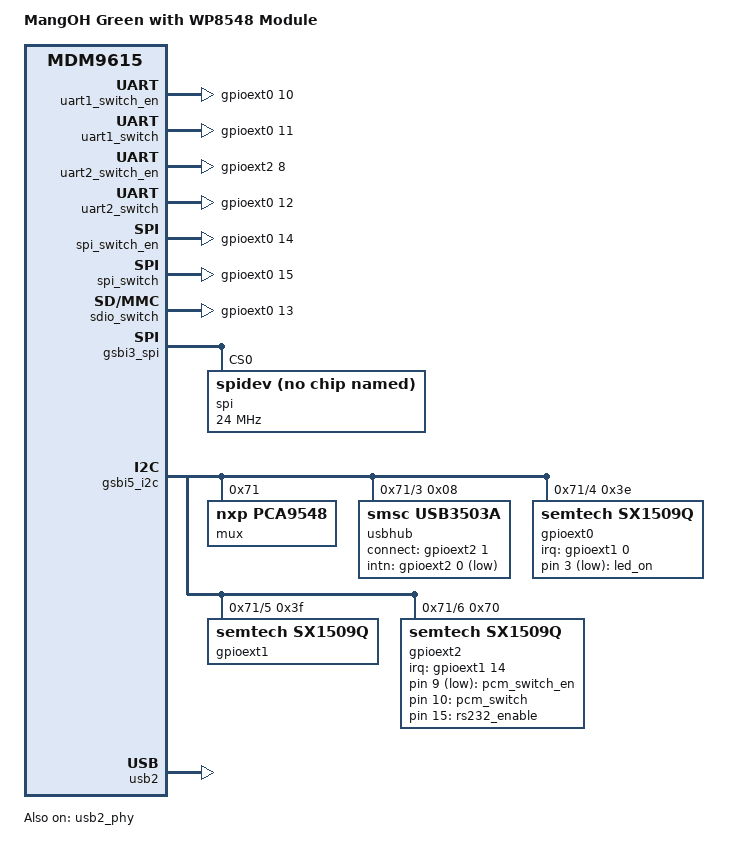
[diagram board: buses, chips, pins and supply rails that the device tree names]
#include <dt-bindings/input/input.h>

#include "swi-wp8548.dtsi"
#include <dt-bindings/interrupt-controller/irq.h>
#include <dt-bindings/gpio/gpio.h>

/ {
	model = "MangOH Green with WP8548 Module";
	compatible = "swi,mangoh-green-wp8548", "swi,wp8548", "qcom,mdm9615";

	iot_switches {
		compatible = "gpio-leds";

		uart1_switch_en: uart1_switch_en {
			compatible = "ti,ts3a5018";
			gpios = <&gpioext0 10 GPIO_ACTIVE_LOW>;
			/* enable switch by default */
			default-state = "on";
		};

		uart1_switch: uart1_switch {
			compatible = "ti,ts3a5018";
			gpios = <&gpioext0 11 GPIO_ACTIVE_HIGH>;
			default-state = "keep";
		};

		uart2_switch_en: uart2_switch_en {
			compatible = "ti,ts3a5018";
			gpios = <&gpioext2 8 GPIO_ACTIVE_LOW>;
			/* enable switch by default */
			default-state = "on";
		};

		uart2_switch: uart2_switch {
			compatible = "ti,ts3a5018";
			gpios = <&gpioext0 12 GPIO_ACTIVE_HIGH>;
			/* select on-board UART by default */
			default-state = "off";
		};

		spi_switch_en: spi_switch_en {
			compatible = "ti,ts3a5018";
			gpios = <&gpioext0 14 GPIO_ACTIVE_LOW>;
			/* enable switch by default */
			default-state = "on";
		};

		spi_switch: spi_switch {
			compatible = "ti,ts3a5018";
			gpios = <&gpioext0 15 GPIO_ACTIVE_HIGH>;
			default-state = "keep";
		};

		pcm_switch_en: pcm_switch_en {
			compatible = "ti,ts3a5018";
			gpios = <&gpioext2 9 GPIO_ACTIVE_LOW>;
			/* enable switch by default */
			default-state = "on";
		};

		pcm_switch: pcm_switch {
			compatible = "ti,ts3a5018";
			gpios = <&gpioext2 10 GPIO_ACTIVE_HIGH>;
			default-state = "keep";
		};

		sdio_switch: sdio_switch {
			compatible = "ti,txs02612";
			gpios = <&gpioext0 13 GPIO_ACTIVE_HIGH>;
			/* select on-board card by default */
			default-state = "on";
		};

		led_on: led_on {
			compatible = "ti,sn74lvc8t245";
			gpios = <&gpioext0 3 GPIO_ACTIVE_LOW>;
			/* enable leds by default */
			default-state = "on";
		};

		rs232_enable: rs232_enable {
			compatible = "generic,gpio-switch";
			gpios = <&gpioext2 15 GPIO_ACTIVE_HIGH>;
			/* enable rs232 port by default */
			default-state = "on";
		};
	};
};

&msmgpio {
	/* MangOH GPIO Mapping :
	   - 2 : GPIOEXP_INT2
	   - 7 : SIM_SELECT_MAIN
	   - 8 : SIM_SELECT_SECONDARY
	   - 13: CN602 pin 16
	   - 21: GPIO_TEST1
	   - 22: GPIO_TEST2
	   - 23: VCC_1V8CTRL
	   - 24: VCC_3V3CTRL
	   - 25: VCC_5V0CTRL
	   - 32: GPIO_TEST3
	   - 33: SD CARD Det
	   - 42: GPIO_TEST4
	*/
	pinctrl-0 = <&cf3_pins>;
	pinctrl-names = "default";

	gpioext1_pins: gpioext1_pins {
		pins {
			pins = "gpio2";
			function = "gpio";
			input-enable;
			bias-disable;
		};
	};

	gpio_test_pins: gpio_test_pins {
		pins {
			pins = "gpio13", "gpio21", "gpio22", "gpio32", "gpio42";
			function = "gpio";
			input-enable;
			bias-disable;
		};
	};

	vcc_ctrl_pins: vcc_ctrl_pins {
		pins {
			pins = "gpio23", "gpio24", "gpio25";
			function = "gpio";
			input-enable;
			bias-disable;
		};
	};

	sim_select_pins: sim_select_pins {
		pins {
			pins = "gpio7", "gpio8";
			function = "gpio";
			input-enable;
			bias-disable;
		};
	};

	cf3_pins: cf3_pins {
		pins {
			pins = "gpio66";
			function = "gpio";
			drive-strength = <2>;
			bias-pull-up;
			output-high;
		};
	};

	sdc_cd_pins: sdc_cd_pins {
		pins {
			pins = "gpio33";
			function = "gpio";
			drive-strength = <2>;
			bias-pull-up;
		};
	};
};

&gsbi3_spi {
	spi@0 {
		compatible = "spidev";
		spi-max-frequency = <24000000>;
		reg = <0>;
	};
};

&gsbi5_i2c {
	mux@71 {
		compatible = "nxp,pca9548";
		#address-cells = <1>;
		#size-cells = <0>;
		reg = <0x71>;

		i2c_iot0: i2c@0 {
			#address-cells = <1>;
			#size-cells = <0>;
			reg = <0>;
		};

		i2c_iot1: i2c@1 {
			#address-cells = <1>;
			#size-cells = <0>;
			reg = <1>;
		};

		i2c_iot2: i2c@2 {
			#address-cells = <1>;
			#size-cells = <0>;
			reg = <2>;
		};

		i2c@3 {
			#address-cells = <1>;
			#size-cells = <0>;
			reg = <3>;

			usbhub: hub@8 {
				compatible = "smsc,usb3503a";
				reg = <0x8>;
				connect-gpios = <&gpioext2 1 GPIO_ACTIVE_HIGH>;
				intn-gpios = <&gpioext2 0 GPIO_ACTIVE_LOW>;
				initial-mode = <1>;
			};
		};

		i2c@4 {
			#address-cells = <1>;
			#size-cells = <0>;
			reg = <4>;

			gpioext0: gpio@3e {
				/* GPIO Expander 0 Mapping :
				   - 0: ARDUINO_RESET_Level shift
				   - 1: BattChrgr_PG_N
				   - 2: BattGauge_GPIO
				   - 3: LED_ON (out active high)
				   - 4: ATmega_reset_GPIO
				   - 5: X
				   - 6: PCM_ANALOG_SELECT (out active high)
				   - 7: X
				   - 8: Board_rev_res1 (in)
				   - 9: Board_rev_res2 (in)
				   - 10: UART_EXP1_ENn (out active low / pull-down)
				   - 11: UART_EXP1_IN (out pull-down)
				   - 12: UART_EXP2_IN (out pull-down)
				   - 13: SDIO_SEL (out pull-down)
				   - 14: SPI_EXP1_ENn (out active low / pull-down)
				   - 15: SPI_EXP1_IN (out pull-down)
				*/
				#gpio-cells = <2>;
				#interrupt-cells = <2>;
				compatible = "semtech,sx1509q";
				reg = <0x3e>;
				interrupt-parent = <&gpioext1>;
				interrupts = <0 IRQ_TYPE_EDGE_FALLING>;

				probe-reset;

				gpio-controller;
				interrupt-controller;
			};
		};

		i2c@5 {
			#address-cells = <1>;
			#size-cells = <0>;
			reg = <5>;

			gpioext1: gpio@3f {
				/* GPIO Expander 1 Mapping :
				   - 0: GPIOEXP_INT1
				   - 1: Battery detect
				   - 2: GPIO_SCF3_RESET
				   - 3: LED_CARD_DETECT_IOT0 (in)
				   - 4: LED_CARD_DETECT_IOT1 (in)
				   - 5: LED_CARD_DETECT_IOT2 (in)
				   - 6: UIM2_PWM_SELECT
				   - 7: UIM2_M2_S_SELECT
				   - 8: TP900
				   - 9: SENSOR_INT1 (in)
				   - 10: SENSOR_INT2 (in)
				   - 11: CARD_DETECT_IOT0 (in pull-up)
				   - 12: CARD_DETECT_IOT2 (in pull-up)
				   - 13: CARD_DETECT_IOT1 (in pull-up)
				   - 14: GPIOEXP_INT3 (in active low / pull-up)
				   - 15: BattChrgr_INT_N
				*/
				pinctrl-0 = <&gpioext1_pins>;
				pinctrl-names = "default";

				#gpio-cells = <2>;
				#interrupt-cells = <2>;
				compatible = "semtech,sx1509q";
				reg = <0x3f>;
				interrupt-parent = <&pmicintc>;
				interrupts = <0 IRQ_TYPE_EDGE_FALLING>;

				probe-reset;

				gpio-controller;
				interrupt-controller;
			};
		};

		i2c@6 {
			#address-cells = <1>;
			#size-cells = <0>;
			reg = <6>;

			gpioext2: gpio@70 {
				/* GPIO Expander 1 Mapping :
				   - 0: USB_HUB_INTn
				   - 1: HUB_CONNECT
				   - 2: GPIO_IOT2_RESET (out active low / pull-up)
				   - 3: GPIO_IOT1_RESET (out active low / pull-up)
				   - 4: GPIO_IOT0_RESET (out active low / pull-up)
				   - 5: TP901
				   - 6: TP902
				   - 7: TP903
				   - 8: UART_EXP2_ENn (out active low / pull-down)
				   - 9: PCM_EXP1_ENn (out active low)
				   - 10: PCM_EXP1_SEL (out)
				   - 11: ARD_FTDI
				   - 12: TP904
				   - 13: TP905
				   - 14: TP906
				   - 15: RS232_Enable (out active high / pull-up)
				*/
				#gpio-cells = <2>;
				#interrupt-cells = <2>;
				compatible = "semtech,sx1509q";
				reg = <0x70>;
				interrupt-parent = <&gpioext1>;
				interrupts = <14 IRQ_TYPE_EDGE_FALLING>;

				pull-down-ports = <9 10>;
				probe-reset;

				gpio-controller;
				interrupt-controller;
			};
		};

		i2c@7 {
			#address-cells = <1>;
			#size-cells = <0>;
			reg = <7>;
		};
	};
};

&usb2_phy {
	status = "ok";
};

&usb2 {
	status = "ok";
};

&sdcc1 {
	pinctrl-0 = <&sdc_cd_pins>;
	pinctrl-names = "default";
	disable-wp;
	cd-gpios = <&msmgpio 33 GPIO_ACTIVE_LOW>; /* Active low CD */
};
